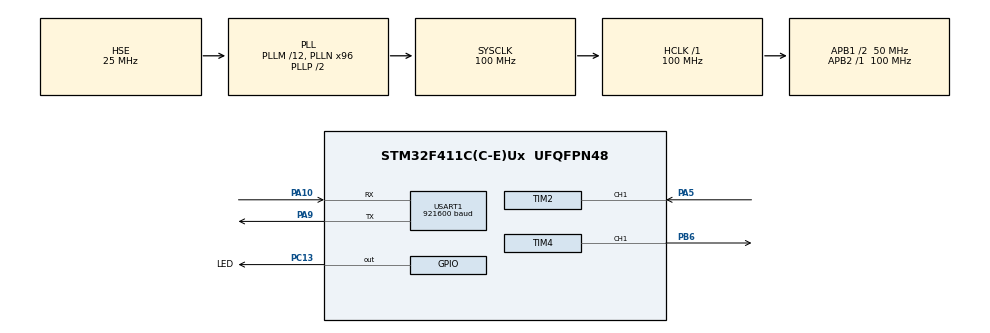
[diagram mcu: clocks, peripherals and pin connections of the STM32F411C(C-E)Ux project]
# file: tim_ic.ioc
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Mcu.Family=STM32F4
Mcu.Name=STM32F411C(C-E)Ux
Mcu.Package=UFQFPN48
NVIC.PriorityGroup=NVIC_PRIORITYGROUP_4
NVIC.TIM2_IRQn=true\:0\:0\:false\:false\:true\:true\:true\:true
PA10.Mode=Asynchronous
PA10.Signal=USART1_RX
PA13.Mode=Trace_Asynchronous_SW
PA13.Signal=SYS_JTMS-SWDIO
PA14.Mode=Trace_Asynchronous_SW
PA14.Signal=SYS_JTCK-SWCLK
PA5.Signal=S_TIM2_CH1_ETR
PA9.Mode=Asynchronous
PA9.Signal=USART1_TX
PB3.Mode=Trace_Asynchronous_SW
PB3.Signal=SYS_JTDO-SWO
PB6.Signal=S_TIM4_CH1
PC13-ANTI_TAMP.GPIO_Label=LED
PC13-ANTI_TAMP.GPIO_ModeDefaultOutputPP=GPIO_MODE_OUTPUT_OD
PC13-ANTI_TAMP.GPIO_PuPd=GPIO_NOPULL
PC13-ANTI_TAMP.PinState=GPIO_PIN_SET
PC13-ANTI_TAMP.Signal=GPIO_Output
PH0\ -\ OSC_IN.Mode=HSE-External-Oscillator
PH0\ -\ OSC_IN.Signal=RCC_OSC_IN
PH1\ -\ OSC_OUT.Mode=HSE-External-Oscillator
PH1\ -\ OSC_OUT.Signal=RCC_OSC_OUT
ProjectManager.HeapSize=0x200
ProjectManager.StackSize=0x400
ProjectManager.TargetToolchain=STM32CubeIDE
RCC.48MHZClocksFreq_Value=50000000
RCC.AHBFreq_Value=100000000
RCC.APB1CLKDivider=RCC_HCLK_DIV2
RCC.APB1Freq_Value=50000000
RCC.APB1TimFreq_Value=100000000
RCC.APB2Freq_Value=100000000
RCC.APB2TimFreq_Value=100000000
RCC.CortexFreq_Value=100000000
RCC.HCLKFreq_Value=100000000
RCC.HSE_VALUE=25000000
RCC.HSI_VALUE=16000000
RCC.LSE_VALUE=32768
RCC.PLLM=12
RCC.PLLN=96
RCC.PLLSourceVirtual=RCC_PLLSOURCE_HSE
RCC.SYSCLKFreq_VALUE=100000000
RCC.SYSCLKSource=RCC_SYSCLKSOURCE_PLLCLK
RCC.VCOOutputFreq_Value=200000000
SH.S_TIM2_CH1_ETR.0=TIM2_CH1,Input_Capture1_from_TI1
SH.S_TIM4_CH1.0=TIM4_CH1,PWM Generation1 CH1
TIM2.AutoReloadPreload=TIM_AUTORELOAD_PRELOAD_DISABLE
TIM2.Channel-Input_Capture1_from_TI1=TIM_CHANNEL_1
TIM2.TIM_MasterOutputTrigger=TIM_TRGO_RESET
TIM4.Channel-PWM\ Generation1\ CH1=TIM_CHANNEL_1
USART1.BaudRate=921600
USART1.VirtualMode=VM_ASYNC
VP_TIM2_VS_ClockSourceINT.Mode=Internal
VP_TIM4_VS_ClockSourceINT.Mode=Internal
board=custom

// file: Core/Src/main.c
/* USER CODE BEGIN Header */
/**
 ******************************************************************************
 * @file           : main.c
 * @brief          : Main program body
 ******************************************************************************
 * @attention
 *
 * Copyright (c) 2022 Lars Boegild Thomsen <lbthomsen@gmail.com>.
 * All rights reserved.
 *
 * This software is licensed under terms that can be found in the LICENSE file
 * in the root directory of this software component.
 * If no LICENSE file comes with this software, it is provided AS-IS.
 *
 ******************************************************************************
 */
/* USER CODE END Header */
#include "main.h"

/* USER CODE BEGIN Includes */
#include "stdio.h"
/* USER CODE END Includes */

/* USER CODE BEGIN PD */
#define TIMER_CLOCK_FREQ 100000000 // APB1 Timer Clock
/* USER CODE END PD */

TIM_HandleTypeDef htim2;
TIM_HandleTypeDef htim4;

UART_HandleTypeDef huart1;

/* USER CODE BEGIN PV */

// Define some test pwm values - first column is prescaler value for pwm and second row is duty cycle (of 1000)
uint32_t pwm_vals[][2] = {
        { 19999, 50 },
        { 9999, 50 },
        { 999, 50 },
        { 99, 50 },
        { 49, 50 },
        { 24, 50 },
        { 9, 50 },
        { 4, 50 },
        { 2, 50 },
        { 1, 50 },
        { 0, 50 }
};
// Used to cycle around the pwm values
uint32_t pwm_vals_idx = 0;

// Will be calculated in interrupt callback
uint32_t cnt_full = 0;
uint32_t cnt_high = 0;
float freq = 0;
float duty = 0;
/* USER CODE END PV */

void SystemClock_Config(void);
static void MX_GPIO_Init(void);
static void MX_USART1_UART_Init(void);
static void MX_TIM2_Init(void);
static void MX_TIM4_Init(void);

/* USER CODE BEGIN 0 */

// Send printf to uart1
int _write(int fd, char *ptr, int len) {
    HAL_StatusTypeDef hstatus;

    if (fd == 1 || fd == 2) {
        hstatus = HAL_UART_Transmit(&huart1, (uint8_t*) ptr, len,
        HAL_MAX_DELAY);
        if (hstatus == HAL_OK)
            return len;
        else
            return -1;
    }
    return -1;
}

void HAL_TIM_IC_CaptureCallback(TIM_HandleTypeDef *htim) {
    if (htim->Instance == TIM2) {
        cnt_full = HAL_TIM_ReadCapturedValue(htim, TIM_CHANNEL_1) + 1;
    }
}

/* USER CODE END 0 */

int main(void)
{

  /* MCU Configuration--------------------------------------------------------*/

  /* Reset of all peripherals, Initializes the Flash interface and the Systick. */
  HAL_Init();

  /* Configure the system clock */
  SystemClock_Config();

  /* Initialize all configured peripherals */
  MX_GPIO_Init();
  MX_USART1_UART_Init();
  MX_TIM2_Init();
  MX_TIM4_Init();
  /* USER CODE BEGIN 2 */

    printf("Firing up PWM\n");
    HAL_TIM_PWM_Start(&htim4, TIM_CHANNEL_1);   // Output PWM Generation

    printf("Firing up PWM Input Capture\n");
    HAL_TIM_IC_Start_IT(&htim2, TIM_CHANNEL_1); // Primary channel - rising edge - rinse and repeat

  /* USER CODE END 2 */

  /* Infinite loop */
  /* USER CODE BEGIN WHILE */

    uint32_t now = 0, next_blink = 500, next_print = 1000, next_change = 0;

    while (1) {

        now = HAL_GetTick();

        if (now >= next_blink) {
            HAL_GPIO_TogglePin(LED_GPIO_Port, LED_Pin);

            next_blink = now + 500;
        }

        if (now >= next_print) {

            float freq = (float) TIMER_CLOCK_FREQ / (cnt_full);
            //float duty = (float) 100 * cnt_high / cnt_full;

            printf("Tick %5lu count = %8lu freq = %10.2f Hz\n", now / 1000, cnt_full, freq);

            next_print = now + 1000;
        }

        if (now >= next_change) {

            printf("Setting prescaler = %lu compare = %lu\n", pwm_vals[pwm_vals_idx][0], pwm_vals[pwm_vals_idx][1]);

            __HAL_TIM_SET_PRESCALER(&htim4, pwm_vals[pwm_vals_idx][0]);
            __HAL_TIM_SET_COMPARE(&htim4, TIM_CHANNEL_1, pwm_vals[pwm_vals_idx][1]);

            ++pwm_vals_idx;
            if (pwm_vals_idx >= sizeof(pwm_vals) / sizeof(pwm_vals[0])) {
                pwm_vals_idx = 0;
            }

            next_change = now + 2000;
        }

    /* USER CODE END WHILE */

    }
}

void SystemClock_Config(void)
{
  RCC_OscInitTypeDef RCC_OscInitStruct = {0};
  RCC_ClkInitTypeDef RCC_ClkInitStruct = {0};

  /** Configure the main internal regulator output voltage
  */
  __HAL_RCC_PWR_CLK_ENABLE();
  __HAL_PWR_VOLTAGESCALING_CONFIG(PWR_REGULATOR_VOLTAGE_SCALE1);

  /** Initializes the RCC Oscillators according to the specified parameters
  * in the RCC_OscInitTypeDef structure.
  */
  RCC_OscInitStruct.OscillatorType = RCC_OSCILLATORTYPE_HSE;
  RCC_OscInitStruct.HSEState = RCC_HSE_ON;
  RCC_OscInitStruct.PLL.PLLState = RCC_PLL_ON;
  RCC_OscInitStruct.PLL.PLLSource = RCC_PLLSOURCE_HSE;
  RCC_OscInitStruct.PLL.PLLM = 12;
  RCC_OscInitStruct.PLL.PLLN = 96;
  RCC_OscInitStruct.PLL.PLLP = RCC_PLLP_DIV2;
  RCC_OscInitStruct.PLL.PLLQ = 4;
  if (HAL_RCC_OscConfig(&RCC_OscInitStruct) != HAL_OK)
  {
    Error_Handler();
  }

  /** Initializes the CPU, AHB and APB buses clocks
  */
  RCC_ClkInitStruct.ClockType = RCC_CLOCKTYPE_HCLK|RCC_CLOCKTYPE_SYSCLK
                              |RCC_CLOCKTYPE_PCLK1|RCC_CLOCKTYPE_PCLK2;
  RCC_ClkInitStruct.SYSCLKSource = RCC_SYSCLKSOURCE_PLLCLK;
  RCC_ClkInitStruct.AHBCLKDivider = RCC_SYSCLK_DIV1;
  RCC_ClkInitStruct.APB1CLKDivider = RCC_HCLK_DIV2;
  RCC_ClkInitStruct.APB2CLKDivider = RCC_HCLK_DIV1;

  if (HAL_RCC_ClockConfig(&RCC_ClkInitStruct, FLASH_LATENCY_3) != HAL_OK)
  {
    Error_Handler();
  }
}

static void MX_TIM2_Init(void)
{

  TIM_ClockConfigTypeDef sClockSourceConfig = {0};
  TIM_MasterConfigTypeDef sMasterConfig = {0};
  TIM_IC_InitTypeDef sConfigIC = {0};

  htim2.Instance = TIM2;
  htim2.Init.Prescaler = 0;
  htim2.Init.CounterMode = TIM_COUNTERMODE_UP;
  htim2.Init.Period = 4294967295;
  htim2.Init.ClockDivision = TIM_CLOCKDIVISION_DIV1;
  htim2.Init.AutoReloadPreload = TIM_AUTORELOAD_PRELOAD_DISABLE;
  if (HAL_TIM_Base_Init(&htim2) != HAL_OK)
  {
    Error_Handler();
  }
  sClockSourceConfig.ClockSource = TIM_CLOCKSOURCE_INTERNAL;
  if (HAL_TIM_ConfigClockSource(&htim2, &sClockSourceConfig) != HAL_OK)
  {
    Error_Handler();
  }
  if (HAL_TIM_IC_Init(&htim2) != HAL_OK)
  {
    Error_Handler();
  }
  sMasterConfig.MasterOutputTrigger = TIM_TRGO_RESET;
  sMasterConfig.MasterSlaveMode = TIM_MASTERSLAVEMODE_DISABLE;
  if (HAL_TIMEx_MasterConfigSynchronization(&htim2, &sMasterConfig) != HAL_OK)
  {
    Error_Handler();
  }
  sConfigIC.ICPolarity = TIM_INPUTCHANNELPOLARITY_RISING;
  sConfigIC.ICSelection = TIM_ICSELECTION_DIRECTTI;
  sConfigIC.ICPrescaler = TIM_ICPSC_DIV1;
  sConfigIC.ICFilter = 0;
  if (HAL_TIM_IC_ConfigChannel(&htim2, &sConfigIC, TIM_CHANNEL_1) != HAL_OK)
  {
    Error_Handler();
  }

}

static void MX_TIM4_Init(void)
{

  TIM_ClockConfigTypeDef sClockSourceConfig = {0};
  TIM_MasterConfigTypeDef sMasterConfig = {0};
  TIM_OC_InitTypeDef sConfigOC = {0};

  htim4.Instance = TIM4;
  htim4.Init.Prescaler = 0;
  htim4.Init.CounterMode = TIM_COUNTERMODE_UP;
  htim4.Init.Period = 65535;
  htim4.Init.ClockDivision = TIM_CLOCKDIVISION_DIV1;
  htim4.Init.AutoReloadPreload = TIM_AUTORELOAD_PRELOAD_DISABLE;
  if (HAL_TIM_Base_Init(&htim4) != HAL_OK)
  {
    Error_Handler();
  }
  sClockSourceConfig.ClockSource = TIM_CLOCKSOURCE_INTERNAL;
  if (HAL_TIM_ConfigClockSource(&htim4, &sClockSourceConfig) != HAL_OK)
  {
    Error_Handler();
  }
  if (HAL_TIM_PWM_Init(&htim4) != HAL_OK)
  {
    Error_Handler();
  }
  sMasterConfig.MasterOutputTrigger = TIM_TRGO_RESET;
  sMasterConfig.MasterSlaveMode = TIM_MASTERSLAVEMODE_DISABLE;
  if (HAL_TIMEx_MasterConfigSynchronization(&htim4, &sMasterConfig) != HAL_OK)
  {
    Error_Handler();
  }
  sConfigOC.OCMode = TIM_OCMODE_PWM1;
  sConfigOC.Pulse = 0;
  sConfigOC.OCPolarity = TIM_OCPOLARITY_HIGH;
  sConfigOC.OCFastMode = TIM_OCFAST_DISABLE;
  if (HAL_TIM_PWM_ConfigChannel(&htim4, &sConfigOC, TIM_CHANNEL_1) != HAL_OK)
  {
    Error_Handler();
  }
  HAL_TIM_MspPostInit(&htim4);

}

static void MX_USART1_UART_Init(void)
{

  huart1.Instance = USART1;
  huart1.Init.BaudRate = 921600;
  huart1.Init.WordLength = UART_WORDLENGTH_8B;
  huart1.Init.StopBits = UART_STOPBITS_1;
  huart1.Init.Parity = UART_PARITY_NONE;
  huart1.Init.Mode = UART_MODE_TX_RX;
  huart1.Init.HwFlowCtl = UART_HWCONTROL_NONE;
  huart1.Init.OverSampling = UART_OVERSAMPLING_16;
  if (HAL_UART_Init(&huart1) != HAL_OK)
  {
    Error_Handler();
  }

}

static void MX_GPIO_Init(void)
{
  GPIO_InitTypeDef GPIO_InitStruct = {0};

  /* GPIO Ports Clock Enable */
  __HAL_RCC_GPIOC_CLK_ENABLE();
  __HAL_RCC_GPIOH_CLK_ENABLE();
  __HAL_RCC_GPIOA_CLK_ENABLE();
  __HAL_RCC_GPIOB_CLK_ENABLE();

  /*Configure GPIO pin Output Level */
  HAL_GPIO_WritePin(LED_GPIO_Port, LED_Pin, GPIO_PIN_SET);

  /*Configure GPIO pin : LED_Pin */
  GPIO_InitStruct.Pin = LED_Pin;
  GPIO_InitStruct.Mode = GPIO_MODE_OUTPUT_OD;
  GPIO_InitStruct.Pull = GPIO_NOPULL;
  GPIO_InitStruct.Speed = GPIO_SPEED_FREQ_LOW;
  HAL_GPIO_Init(LED_GPIO_Port, &GPIO_InitStruct);

}

void Error_Handler(void)
{
    __disable_irq();
    while (1) {
    }
}
